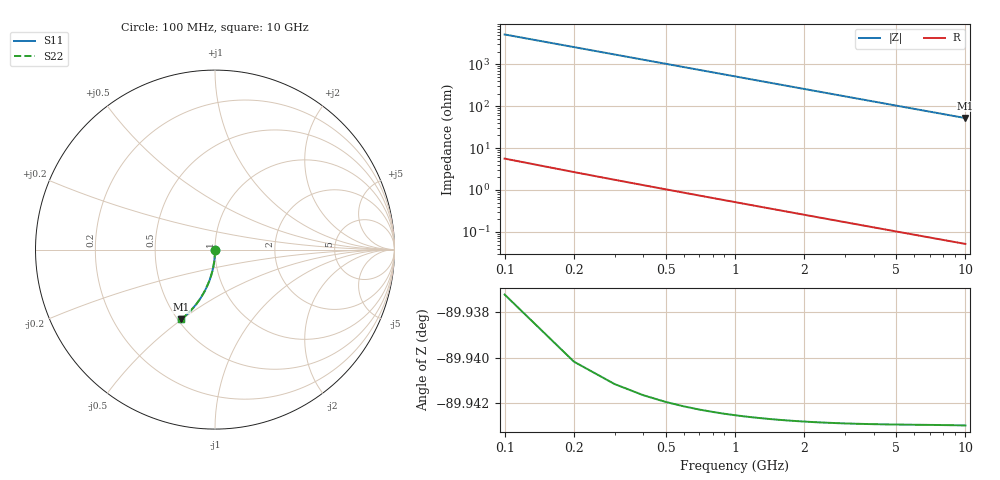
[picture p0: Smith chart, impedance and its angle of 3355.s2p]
# Hz S RI R 50.00
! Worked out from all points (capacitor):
!   100 points, 100 MHz to 10 GHz, reference 50 ohm
!   read as one part in shunt: C = 310 fF near 100 MHz
!   lowest |Z| = 52 ohm at 10 GHz (marker M1)
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1e8  -2.53e-05 -0.00486  1 -0.0049  1 -0.0049  -2.53e-05 -0.00486
2e8  -0.000101 -0.00971  0.9999 -0.00979  0.9999 -0.00979  -0.000101 -0.00971
3e8  -0.000225 -0.0146  0.9998 -0.0147  0.9998 -0.0147  -0.000225 -0.0146
4e8  -0.000396 -0.0194  0.9996 -0.0196  0.9996 -0.0196  -0.000396 -0.0194
5e8  -0.000615 -0.0243  0.9994 -0.0245  0.9994 -0.0245  -0.000615 -0.0243
6e8  -0.00088 -0.0291  0.9991 -0.0293  0.9991 -0.0293  -0.00088 -0.0291
7e8  -0.00119 -0.0339  0.9988 -0.0342  0.9988 -0.0342  -0.00119 -0.0339
8e8  -0.00155 -0.0388  0.9984 -0.0391  0.9984 -0.0391  -0.00155 -0.0388
9e8  -0.00196 -0.0436  0.998 -0.044  0.998 -0.044  -0.00196 -0.0436
1.1e9  -0.00291 -0.0532  0.9971 -0.0537  0.9971 -0.0537  -0.00291 -0.0532
1.4e9  -0.00469 -0.0676  0.9953 -0.0681  0.9953 -0.0681  -0.00469 -0.0676
1.8e9  -0.0077 -0.0866  0.9923 -0.0873  0.9923 -0.0873  -0.0077 -0.0866
2.1e9  -0.0104 -0.1007  0.9896 -0.1015  0.9896 -0.1015  -0.0104 -0.1007
2.5e9  -0.0147 -0.1192  0.9853 -0.1203  0.9853 -0.1203  -0.0147 -0.1192
2.9e9  -0.0196 -0.1375  0.9804 -0.1387  0.9804 -0.1387  -0.0196 -0.1375
3.4e9  -0.0267 -0.1599  0.9733 -0.1614  0.9733 -0.1614  -0.0267 -0.1599
4.2e9  -0.04 -0.1946  0.96 -0.1964  0.96 -0.1964  -0.04 -0.1946
5.1e9  -0.0577 -0.2316  0.9423 -0.2338  0.9423 -0.2338  -0.0577 -0.2316
5.9e9  -0.0755 -0.2625  0.9245 -0.265  0.9245 -0.265  -0.0755 -0.2625
6.7e9  -0.0951 -0.2914  0.9049 -0.2943  0.9049 -0.2943  -0.0951 -0.2914
8.4e9  -0.1412 -0.3459  0.8588 -0.3495  0.8588 -0.3495  -0.1412 -0.3459
1e10  -0.1884 -0.3883  0.8116 -0.3927  0.8116 -0.3927  -0.1884 -0.3883
